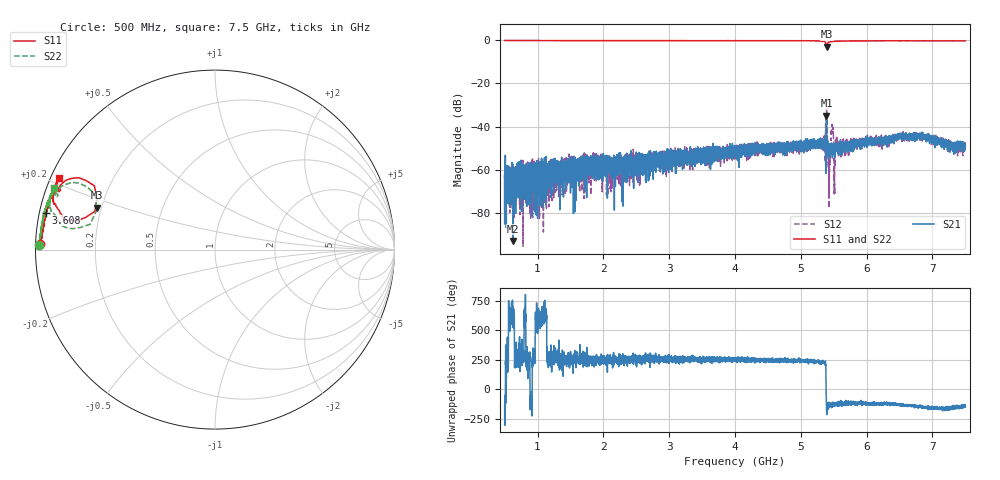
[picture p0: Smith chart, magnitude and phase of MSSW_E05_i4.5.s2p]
!Keysight Technologies,M9374A,MY55442783,A.12.55.05
!Date: Thursday, May 20, 2021 12:11:05
!Correction: S11(Full 2 Port(1,2))
!S21(Full 2 Port(1,2))
!S12(Full 2 Port(1,2))
!S22(Full 2 Port(1,2))
!S2P File: Measurements: S11, S21, S12, S22:
# Hz S  RI  R 50
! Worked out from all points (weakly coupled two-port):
!   7001 points, 500 MHz to 7.5 GHz, reference 50 ohm
!   highest |S21| = -34.85 dB at 5.389 GHz (marker M1); lowest = -92.6 dB at 631 MHz (marker M2)
!   lowest |S11| = -3.1 dB at 5.391 GHz (marker M3), VSWR 5.64, Z = 9.12 + j8.32 ohm
!   |S11| at or under -10 dB: nowhere
!   |S22| runs from -3.2 to -0.2 dB; largest |S21 - S12| = 0.019
!   S11 on the Smith chart (normalised r, x): 500 MHz: 0.01, +0.02; 3.608 GHz: 0.02, +0.11; 7.5 GHz: 0.02, +0.22
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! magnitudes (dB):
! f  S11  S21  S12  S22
! 500 MHz  -0.2  -84.8  -61.7  -0.2
! 538 MHz  -0.2  -70.2  -64.4  -0.2
! 631 MHz  -0.3  -92.6  -59.6  -0.2
! 1.073 GHz  -0.3  -59.7  -56.2  -0.2
! 1.667 GHz  -0.3  -60.3  -56.8  -0.2
! 2.834 GHz  -0.3  -56.0  -52.5  -0.2
! 3.608 GHz  -0.3  -51.2  -51.7  -0.2
! 4 GHz  -0.3  -49.6  -51.3  -0.2
! 5.167 GHz  -0.4  -47.6  -48.6  -0.3
! 5.338 GHz  -0.6  -49.5  -47.5  -0.5
! 5.368 GHz  -0.9  -45.3  -50.5  -0.8
! 5.389 GHz  -3.0  -34.8  -38.0  -3.0
! 5.391 GHz  -3.1  -37.0  -32.6  -3.2
! 5.437 GHz  -0.9  -52.3  -55.5  -0.8
! 5.471 GHz  -0.7  -48.6  -39.7  -0.6
! 5.538 GHz  -0.6  -50.7  -45.6  -0.5
! 5.561 GHz  -0.6  -52.5  -47.6  -0.5
! 5.645 GHz  -0.5  -49.1  -47.7  -0.4
! 6.334 GHz  -0.4  -45.8  -45.8  -0.3
! 6.8 GHz  -0.4  -43.6  -44.7  -0.3
! 7.314 GHz  -0.4  -48.6  -47.8  -0.3
! 7.5 GHz  -0.4  -47.9  -49.8  -0.4
